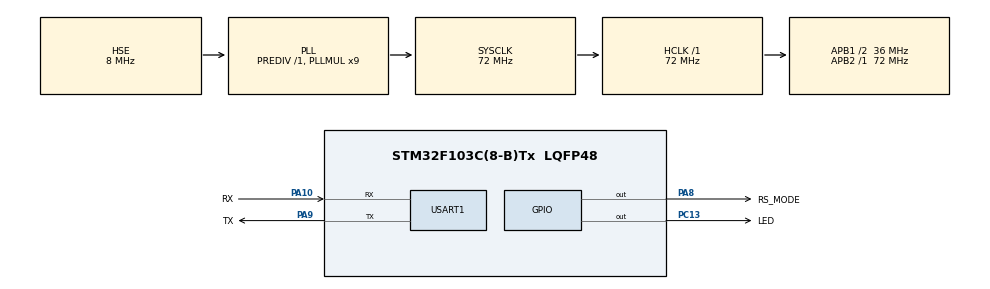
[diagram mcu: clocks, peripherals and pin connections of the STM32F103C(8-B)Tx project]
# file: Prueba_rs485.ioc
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Mcu.Family=STM32F1
Mcu.Name=STM32F103C(8-B)Tx
Mcu.Package=LQFP48
NVIC.PriorityGroup=NVIC_PRIORITYGROUP_4
NVIC.USART1_IRQn=true\:0\:0\:false\:false\:true\:true\:true\:true
PA10.GPIO_Label=RX
PA10.Mode=Asynchronous
PA10.Signal=USART1_RX
PA13.Mode=Serial_Wire
PA13.Signal=SYS_JTMS-SWDIO
PA14.Mode=Serial_Wire
PA14.Signal=SYS_JTCK-SWCLK
PA8.GPIO_Label=RS_MODE
PA8.Signal=GPIO_Output
PA9.GPIO_Label=TX
PA9.Mode=Asynchronous
PA9.Signal=USART1_TX
PC13-TAMPER-RTC.GPIO_Label=LED
PC13-TAMPER-RTC.Signal=GPIO_Output
PD0-OSC_IN.Mode=HSE-External-Oscillator
PD0-OSC_IN.Signal=RCC_OSC_IN
PD1-OSC_OUT.Mode=HSE-External-Oscillator
PD1-OSC_OUT.Signal=RCC_OSC_OUT
ProjectManager.HeapSize=0x200
ProjectManager.StackSize=0x400
ProjectManager.TargetToolchain=STM32CubeIDE
RCC.AHBFreq_Value=72000000
RCC.APB1CLKDivider=RCC_HCLK_DIV2
RCC.APB1Freq_Value=36000000
RCC.APB1TimFreq_Value=72000000
RCC.APB2Freq_Value=72000000
RCC.APB2TimFreq_Value=72000000
RCC.HCLKFreq_Value=72000000
RCC.PLLMUL=RCC_PLL_MUL9
RCC.PLLSourceVirtual=RCC_PLLSOURCE_HSE
RCC.SYSCLKFreq_VALUE=72000000
RCC.SYSCLKSource=RCC_SYSCLKSOURCE_PLLCLK
RCC.USBFreq_Value=72000000
USART1.VirtualMode=VM_ASYNC
board=custom

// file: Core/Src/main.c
/* USER CODE BEGIN Header */
/**
  ******************************************************************************
  * @file           : main.c
  * @brief          : Main program body
  ******************************************************************************
  * @attention
  *
  * Copyright (c) 2023 STMicroelectronics.
  * All rights reserved.
  *
  * This software is licensed under terms that can be found in the LICENSE file
  * in the root directory of this software component.
  * If no LICENSE file comes with this software, it is provided AS-IS.
  *
  ******************************************************************************
  */
/* USER CODE END Header */
#include "main.h"
#include "usart.h"
#include "gpio.h"

/* USER CODE BEGIN Includes */
#include "rs485.h"

#include <stdlib.h>
#include <stdio.h>
/* USER CODE END Includes */

void SystemClock_Config(void);

int main(void)
{

  /* MCU Configuration--------------------------------------------------------*/

  /* Reset of all peripherals, Initializes the Flash interface and the Systick. */
  HAL_Init();

  /* Configure the system clock */
  SystemClock_Config();

  /* Initialize all configured peripherals */
  MX_GPIO_Init();
  MX_USART1_UART_Init();

  /* USER CODE BEGIN 2 */
  HAL_GPIO_WritePin(GPIOC,GPIO_PIN_13, GPIO_PIN_SET);
   HAL_GPIO_WritePin(GPIOA, RS_MODE_Pin, GPIO_PIN_SET);
   extern char rs_buftx[BUFFER_TX];
   char name[4];
   int i=0;

  /* USER CODE END 2 */

  /* Infinite loop */
  /* USER CODE BEGIN WHILE */
  while (1)
  {

	 		HAL_GPIO_WritePin(GPIOA, RS_MODE_Pin, GPIO_PIN_RESET);

	 	  if (HAL_UART_Receive(&huart1, &rs_buftx, 1, TIME_OUT)==HAL_OK)
	 	  	  	  {
	 		  	  	  	  name[i]=rs_buftx[0];
	 	  	  	  	  	  i++;
	 	  				  HAL_GPIO_WritePin(GPIOC, GPIO_PIN_13, GPIO_PIN_RESET);
	 	  				  if (i==4)
	 	  				  {
	 	  					  i=0;
	 	  					  HAL_GPIO_WritePin(GPIOA, RS_MODE_Pin, GPIO_PIN_SET);
	 	  					  HAL_UART_Transmit(&huart1, &name, strlen(name), TIME_OUT);
	 	  				  }
	 	  				  HAL_Delay(200);
	 	  				  HAL_GPIO_WritePin(GPIOC, GPIO_PIN_13, GPIO_PIN_SET);
	 	  	 	  }

	  	  //HAL_GPIO_WritePin(GPIOC, GPIO_PIN_13, GPIO_PIN_SET);

	  	  //HAL_UART_Transmit(&huart1, &state, strlen(state), TIME_OUT);
	  	  //HAL_Delay(1000);

	  	 /*if (HAL_UART_Receive(&huart1, rs_buftx, 1, TIME_OUT)==HAL_OK)
	  	  {
				  HAL_GPIO_WritePin(GPIOC, GPIO_PIN_13, GPIO_PIN_SET);
				  HAL_Delay(1000);
				  HAL_GPIO_WritePin(GPIOC, GPIO_PIN_13, GPIO_PIN_RESET);
				  HAL_Delay(1000);
	 	  }*/

    /* USER CODE END WHILE */

  }
}

void SystemClock_Config(void)
{
  RCC_OscInitTypeDef RCC_OscInitStruct = {0};
  RCC_ClkInitTypeDef RCC_ClkInitStruct = {0};

  /** Initializes the RCC Oscillators according to the specified parameters
  * in the RCC_OscInitTypeDef structure.
  */
  RCC_OscInitStruct.OscillatorType = RCC_OSCILLATORTYPE_HSE;
  RCC_OscInitStruct.HSEState = RCC_HSE_ON;
  RCC_OscInitStruct.HSEPredivValue = RCC_HSE_PREDIV_DIV1;
  RCC_OscInitStruct.HSIState = RCC_HSI_ON;
  RCC_OscInitStruct.PLL.PLLState = RCC_PLL_ON;
  RCC_OscInitStruct.PLL.PLLSource = RCC_PLLSOURCE_HSE;
  RCC_OscInitStruct.PLL.PLLMUL = RCC_PLL_MUL9;
  if (HAL_RCC_OscConfig(&RCC_OscInitStruct) != HAL_OK)
  {
    Error_Handler();
  }

  /** Initializes the CPU, AHB and APB buses clocks
  */
  RCC_ClkInitStruct.ClockType = RCC_CLOCKTYPE_HCLK|RCC_CLOCKTYPE_SYSCLK
                              |RCC_CLOCKTYPE_PCLK1|RCC_CLOCKTYPE_PCLK2;
  RCC_ClkInitStruct.SYSCLKSource = RCC_SYSCLKSOURCE_PLLCLK;
  RCC_ClkInitStruct.AHBCLKDivider = RCC_SYSCLK_DIV1;
  RCC_ClkInitStruct.APB1CLKDivider = RCC_HCLK_DIV2;
  RCC_ClkInitStruct.APB2CLKDivider = RCC_HCLK_DIV1;

  if (HAL_RCC_ClockConfig(&RCC_ClkInitStruct, FLASH_LATENCY_2) != HAL_OK)
  {
    Error_Handler();
  }
}

void Error_Handler(void)
{
  __disable_irq();
  while (1)
  {
  }
}
